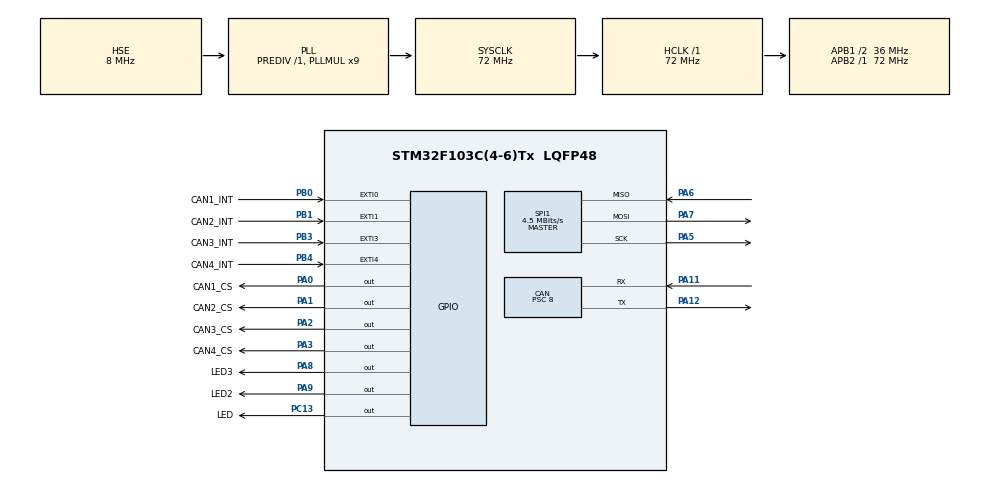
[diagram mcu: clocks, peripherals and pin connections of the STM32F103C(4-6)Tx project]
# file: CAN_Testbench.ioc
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CAN.ABOM=ENABLE
CAN.BS1=CAN_BS1_15TQ
CAN.BS2=CAN_BS2_2TQ
CAN.CalculateBaudRate=250000
CAN.CalculateTimeBit=4000
CAN.CalculateTimeQuantum=222.22222222222223
CAN.NART=ENABLE
CAN.Prescaler=8
Mcu.Family=STM32F1
Mcu.Name=STM32F103C(4-6)Tx
Mcu.Package=LQFP48
NVIC.EXTI0_IRQn=true\:0\:0\:false\:false\:true\:true\:true\:true
NVIC.EXTI1_IRQn=true\:0\:0\:false\:false\:true\:true\:true\:true
NVIC.EXTI3_IRQn=true\:0\:0\:false\:false\:true\:true\:true\:true
NVIC.EXTI4_IRQn=true\:0\:0\:false\:false\:true\:true\:true\:true
NVIC.PriorityGroup=NVIC_PRIORITYGROUP_4
PA0-WKUP.GPIO_Label=CAN1_CS
PA0-WKUP.PinState=GPIO_PIN_SET
PA0-WKUP.Signal=GPIO_Output
PA1.GPIO_Label=CAN2_CS
PA1.PinState=GPIO_PIN_SET
PA1.Signal=GPIO_Output
PA11.Mode=CAN_Activate
PA11.Signal=CAN_RX
PA12.Mode=CAN_Activate
PA12.Signal=CAN_TX
PA13.Mode=Serial_Wire
PA13.Signal=SYS_JTMS-SWDIO
PA14.Mode=Serial_Wire
PA14.Signal=SYS_JTCK-SWCLK
PA2.GPIO_Label=CAN3_CS
PA2.PinState=GPIO_PIN_SET
PA2.Signal=GPIO_Output
PA3.GPIO_Label=CAN4_CS
PA3.PinState=GPIO_PIN_SET
PA3.Signal=GPIO_Output
PA5.Mode=Full_Duplex_Master
PA5.Signal=SPI1_SCK
PA6.Mode=Full_Duplex_Master
PA6.Signal=SPI1_MISO
PA7.Mode=Full_Duplex_Master
PA7.Signal=SPI1_MOSI
PA8.GPIO_Label=LED3
PA8.GPIO_ModeDefaultOutputPP=GPIO_MODE_OUTPUT_OD
PA8.GPIO_PuPd=GPIO_NOPULL
PA8.PinState=GPIO_PIN_SET
PA8.Signal=GPIO_Output
PA9.GPIO_Label=LED2
PA9.GPIO_ModeDefaultOutputPP=GPIO_MODE_OUTPUT_OD
PA9.GPIO_PuPd=GPIO_NOPULL
PA9.PinState=GPIO_PIN_SET
PA9.Signal=GPIO_Output
PB0.GPIO_Label=CAN1_INT
PB0.GPIO_ModeDefaultEXTI=GPIO_MODE_IT_FALLING
PB0.GPIO_PuPd=GPIO_NOPULL
PB0.Signal=GPXTI0
PB1.GPIO_Label=CAN2_INT
PB1.GPIO_ModeDefaultEXTI=GPIO_MODE_IT_FALLING
PB1.GPIO_PuPd=GPIO_NOPULL
PB1.Signal=GPXTI1
PB3.GPIO_Label=CAN3_INT
PB3.GPIO_ModeDefaultEXTI=GPIO_MODE_IT_FALLING
PB3.GPIO_PuPd=GPIO_NOPULL
PB3.Signal=GPXTI3
PB4.GPIO_Label=CAN4_INT
PB4.GPIO_ModeDefaultEXTI=GPIO_MODE_IT_FALLING
PB4.GPIO_PuPd=GPIO_NOPULL
PB4.Signal=GPXTI4
PC13-TAMPER-RTC.GPIO_Label=LED
PC13-TAMPER-RTC.GPIO_ModeDefaultOutputPP=GPIO_MODE_OUTPUT_OD
PC13-TAMPER-RTC.GPIO_PuPd=GPIO_NOPULL
PC13-TAMPER-RTC.GPIO_Speed=GPIO_SPEED_FREQ_LOW
PC13-TAMPER-RTC.PinState=GPIO_PIN_SET
PC13-TAMPER-RTC.Signal=GPIO_Output
PD0-OSC_IN.Mode=HSE-External-Oscillator
PD0-OSC_IN.Signal=RCC_OSC_IN
PD1-OSC_OUT.Mode=HSE-External-Oscillator
PD1-OSC_OUT.Signal=RCC_OSC_OUT
ProjectManager.HeapSize=0x200
ProjectManager.StackSize=0x400
ProjectManager.TargetToolchain=STM32CubeIDE
RCC.AHBFreq_Value=72000000
RCC.APB1CLKDivider=RCC_HCLK_DIV2
RCC.APB1Freq_Value=36000000
RCC.APB1TimFreq_Value=72000000
RCC.APB2Freq_Value=72000000
RCC.APB2TimFreq_Value=72000000
RCC.HCLKFreq_Value=72000000
RCC.PLLMUL=RCC_PLL_MUL9
RCC.PLLSourceVirtual=RCC_PLLSOURCE_HSE
RCC.RTCClockSelection=RCC_RTCCLKSOURCE_LSE
RCC.SYSCLKFreq_VALUE=72000000
RCC.SYSCLKSource=RCC_SYSCLKSOURCE_PLLCLK
RCC.USBFreq_Value=72000000
SPI1.BaudRatePrescaler=SPI_BAUDRATEPRESCALER_16
SPI1.CalculateBaudRate=4.5 MBits/s
SPI1.Direction=SPI_DIRECTION_2LINES
SPI1.Mode=SPI_MODE_MASTER
SPI1.VirtualType=VM_MASTER
board=custom

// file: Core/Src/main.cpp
/* USER CODE BEGIN Header */
/**
  ******************************************************************************
  * @file           : main.c
  * @brief          : Main program body
  ******************************************************************************
  * @attention
  *
  * Copyright (c) 2024 STMicroelectronics.
  * All rights reserved.
  *
  * This software is licensed under terms that can be found in the LICENSE file
  * in the root directory of this software component.
  * If no LICENSE file comes with this software, it is provided AS-IS.
  *
  ******************************************************************************
  */
/* USER CODE END Header */
#include "main.hpp"
#include "mcp2515.hpp"

/* USER CODE BEGIN Includes */
#include <functional>
/* USER CODE END Includes */

CAN_HandleTypeDef hcan;

SPI_HandleTypeDef hspi1;

void SystemClock_Config(void);
static void MX_GPIO_Init(void);
static void MX_SPI1_Init(void);
static void MX_CAN_Init(void);
void switchSpiInterrupts(bool state);

/* USER CODE BEGIN 0 */

mcp2515::Driver can1(&hspi1, CAN1_CS_GPIO_Port, CAN1_CS_Pin, std::function<void(bool)>(switchSpiInterrupts));
mcp2515::Driver can2(&hspi1, CAN2_CS_GPIO_Port, CAN2_CS_Pin, std::function<void(bool)>(switchSpiInterrupts));
mcp2515::Driver can3(&hspi1, CAN3_CS_GPIO_Port, CAN3_CS_Pin, std::function<void(bool)>(switchSpiInterrupts));
mcp2515::Driver can4(&hspi1, CAN4_CS_GPIO_Port, CAN4_CS_Pin, std::function<void(bool)>(switchSpiInterrupts));

extern std::function<void()> can1_callback;
extern std::function<void()> can2_callback;
extern std::function<void()> can3_callback;
extern std::function<void()> can4_callback;

/* USER CODE END 0 */

int main(void)
{

  /* MCU Configuration--------------------------------------------------------*/

  /* Reset of all peripherals, Initializes the Flash interface and the Systick. */
  HAL_Init();

  /* Configure the system clock */
  SystemClock_Config();

  /* Initialize all configured peripherals */
  MX_GPIO_Init();
  MX_SPI1_Init();
  MX_CAN_Init();
  /* USER CODE BEGIN 2 */

  if (can1.init() != mcp2515::Error::OK) {
    Error_Handler(0x11);
  }
  if (can2.init() != mcp2515::Error::OK) {
    Error_Handler(0x12);
  }
  if (can3.init() != mcp2515::Error::OK) {
    Error_Handler(0x13);
  }
  if (can4.init() != mcp2515::Error::OK) {
    Error_Handler(0x14);
  }

  can1_callback = std::bind(&mcp2515::Driver::interruptHandler, &can1);
  can1.setMode(mcp2515::Mode::CONFIGURATION);
  can1.setSpeed(mcp2515::Speed::MCP_500KBPS);
  can1.setMode(mcp2515::Mode::NORMAL);

  can2_callback = std::bind(&mcp2515::Driver::interruptHandler, &can2);
  can2.setMode(mcp2515::Mode::CONFIGURATION);
  can2.setSpeed(mcp2515::Speed::MCP_500KBPS);
  can2.setFilter(0, 0x1FFFFFFF, 0xFFFFFF, true);
  can2.setFilter(1, 0x1FFFFFFF, 0xFFFFFFFF, true);
  can2.setFilter(2, 0x7FF, 0x222, false);
  can2.setFilter(3, 0x7FF, 0x1AA, false);
  can2.setMode(mcp2515::Mode::NORMAL);

  can3_callback = std::bind(&mcp2515::Driver::interruptHandler, &can3);
  can3.setMode(mcp2515::Mode::CONFIGURATION);
  can3.setSpeed(mcp2515::Speed::MCP_250KBPS);
  can3.setMode(mcp2515::Mode::NORMAL);

  can4_callback = std::bind(&mcp2515::Driver::interruptHandler, &can4);
  can4.setMode(mcp2515::Mode::CONFIGURATION);
  can4.setSpeed(mcp2515::Speed::MCP_250KBPS);
  can4.setFilter(0, 0x0, 0x0, false);
  can4.setMode(mcp2515::Mode::NORMAL);

  switchSpiInterrupts(true);

  /* USER CODE END 2 */

  /* Infinite loop */
  /* USER CODE BEGIN WHILE */
  HAL_GPIO_WritePin(LED_GPIO_Port, LED_Pin, GPIO_PIN_RESET);
  HAL_GPIO_WritePin(LED2_GPIO_Port, LED2_Pin, GPIO_PIN_RESET);
  HAL_GPIO_WritePin(LED3_GPIO_Port, LED3_Pin, GPIO_PIN_RESET);
  while (1)
  {
    static uint32_t can1Timer = HAL_GetTick();
    static uint32_t led2Timer = HAL_GetTick();
    static uint32_t can3Timer = HAL_GetTick();
    static uint32_t led3Timer = HAL_GetTick();

    if (HAL_GetTick() - can1Timer > 1000) {
      can1Timer = HAL_GetTick();

      HAL_GPIO_WritePin(LED_GPIO_Port, LED_Pin, GPIO_PIN_RESET);
      char data[] = "abobadfg";
      can1.sendFrameExt(0xFFFFFFFF, 8, (uint8_t*)data);
      can1.sendFrame(0x222, 8, (uint8_t*)data);
      can1.sendFrame(0x1AA, 8, (uint8_t*)data);
      HAL_GPIO_WritePin(LED_GPIO_Port, LED_Pin, GPIO_PIN_SET);
    }

    while (can2.frameAvailable()) {
      mcp2515::CanFrame frame;
      bool overflow = false;
      uint8_t filter;

      can2.readFrame(frame, filter, overflow);

      if (filter == 3) {
        led2Timer = HAL_GetTick();
        HAL_GPIO_WritePin(LED2_GPIO_Port, LED2_Pin, GPIO_PIN_RESET);
      }
    }

    if (HAL_GetTick() - led2Timer > 200) {
      led2Timer = HAL_GetTick();

      HAL_GPIO_WritePin(LED2_GPIO_Port, LED2_Pin, GPIO_PIN_SET);
    }

    /* USER CODE END WHILE */

    /* USER CODE BEGIN 3 */
    if (HAL_GetTick() - can3Timer > 1500) {
      can3Timer = HAL_GetTick();

      HAL_GPIO_WritePin(LED_GPIO_Port, LED_Pin, GPIO_PIN_RESET);
      char data[] = "maximgat";
      can3.sendFrameExt(0xFFFFFFFF, 4, (uint8_t*)data);
      can3.sendFrame(0x1AA, 2, (uint8_t*)data);
      HAL_GPIO_WritePin(LED_GPIO_Port, LED_Pin, GPIO_PIN_SET);
    }

    while (can4.frameAvailable()) {
      mcp2515::CanFrame frame;
      bool overflow = false;
      uint8_t filter;

      can4.readFrame(frame, filter, overflow);

      if (frame.data[0] == 'm') {
        led3Timer = HAL_GetTick();
        HAL_GPIO_WritePin(LED3_GPIO_Port, LED3_Pin, GPIO_PIN_RESET);
      }
    }

    if (HAL_GetTick() - led3Timer > 200) {
      led3Timer = HAL_GetTick();

      HAL_GPIO_WritePin(LED3_GPIO_Port, LED3_Pin, GPIO_PIN_SET);
    }

  }
  /* USER CODE END 3 */
}

void SystemClock_Config(void)
{
  RCC_OscInitTypeDef RCC_OscInitStruct = {0};
  RCC_ClkInitTypeDef RCC_ClkInitStruct = {0};

  /** Initializes the RCC Oscillators according to the specified parameters
  * in the RCC_OscInitTypeDef structure.
  */
  RCC_OscInitStruct.OscillatorType = RCC_OSCILLATORTYPE_HSE;
  RCC_OscInitStruct.HSEState = RCC_HSE_ON;
  RCC_OscInitStruct.HSEPredivValue = RCC_HSE_PREDIV_DIV1;
  RCC_OscInitStruct.HSIState = RCC_HSI_ON;
  RCC_OscInitStruct.PLL.PLLState = RCC_PLL_ON;
  RCC_OscInitStruct.PLL.PLLSource = RCC_PLLSOURCE_HSE;
  RCC_OscInitStruct.PLL.PLLMUL = RCC_PLL_MUL9;
  if (HAL_RCC_OscConfig(&RCC_OscInitStruct) != HAL_OK)
  {
    Error_Handler();
  }

  /** Initializes the CPU, AHB and APB buses clocks
  */
  RCC_ClkInitStruct.ClockType = RCC_CLOCKTYPE_HCLK|RCC_CLOCKTYPE_SYSCLK
                              |RCC_CLOCKTYPE_PCLK1|RCC_CLOCKTYPE_PCLK2;
  RCC_ClkInitStruct.SYSCLKSource = RCC_SYSCLKSOURCE_PLLCLK;
  RCC_ClkInitStruct.AHBCLKDivider = RCC_SYSCLK_DIV1;
  RCC_ClkInitStruct.APB1CLKDivider = RCC_HCLK_DIV2;
  RCC_ClkInitStruct.APB2CLKDivider = RCC_HCLK_DIV1;

  if (HAL_RCC_ClockConfig(&RCC_ClkInitStruct, FLASH_LATENCY_2) != HAL_OK)
  {
    Error_Handler();
  }
}

static void MX_CAN_Init(void)
{

  hcan.Instance = CAN1;
  hcan.Init.Prescaler = 8;
  hcan.Init.Mode = CAN_MODE_NORMAL;
  hcan.Init.SyncJumpWidth = CAN_SJW_1TQ;
  hcan.Init.TimeSeg1 = CAN_BS1_15TQ;
  hcan.Init.TimeSeg2 = CAN_BS2_2TQ;
  hcan.Init.TimeTriggeredMode = DISABLE;
  hcan.Init.AutoBusOff = ENABLE;
  hcan.Init.AutoWakeUp = DISABLE;
  hcan.Init.AutoRetransmission = ENABLE;
  hcan.Init.ReceiveFifoLocked = DISABLE;
  hcan.Init.TransmitFifoPriority = DISABLE;
  if (HAL_CAN_Init(&hcan) != HAL_OK)
  {
    Error_Handler();
  }

}

static void MX_SPI1_Init(void)
{

  /* SPI1 parameter configuration*/
  hspi1.Instance = SPI1;
  hspi1.Init.Mode = SPI_MODE_MASTER;
  hspi1.Init.Direction = SPI_DIRECTION_2LINES;
  hspi1.Init.DataSize = SPI_DATASIZE_8BIT;
  hspi1.Init.CLKPolarity = SPI_POLARITY_LOW;
  hspi1.Init.CLKPhase = SPI_PHASE_1EDGE;
  hspi1.Init.NSS = SPI_NSS_SOFT;
  hspi1.Init.BaudRatePrescaler = SPI_BAUDRATEPRESCALER_16;
  hspi1.Init.FirstBit = SPI_FIRSTBIT_MSB;
  hspi1.Init.TIMode = SPI_TIMODE_DISABLE;
  hspi1.Init.CRCCalculation = SPI_CRCCALCULATION_DISABLE;
  hspi1.Init.CRCPolynomial = 10;
  if (HAL_SPI_Init(&hspi1) != HAL_OK)
  {
    Error_Handler();
  }

}

static void MX_GPIO_Init(void)
{
  GPIO_InitTypeDef GPIO_InitStruct = {0};

  /* GPIO Ports Clock Enable */
  __HAL_RCC_GPIOC_CLK_ENABLE();
  __HAL_RCC_GPIOD_CLK_ENABLE();
  __HAL_RCC_GPIOA_CLK_ENABLE();
  __HAL_RCC_GPIOB_CLK_ENABLE();

  /*Configure GPIO pin Output Level */
  HAL_GPIO_WritePin(LED_GPIO_Port, LED_Pin, GPIO_PIN_SET);

  /*Configure GPIO pin Output Level */
  HAL_GPIO_WritePin(GPIOA, CAN1_CS_Pin|CAN2_CS_Pin|CAN3_CS_Pin|CAN4_CS_Pin
                          |LED3_Pin|LED2_Pin, GPIO_PIN_SET);

  /*Configure GPIO pin : LED_Pin */
  GPIO_InitStruct.Pin = LED_Pin;
  GPIO_InitStruct.Mode = GPIO_MODE_OUTPUT_OD;
  GPIO_InitStruct.Pull = GPIO_NOPULL;
  GPIO_InitStruct.Speed = GPIO_SPEED_FREQ_LOW;
  HAL_GPIO_Init(LED_GPIO_Port, &GPIO_InitStruct);

  /*Configure GPIO pins : CAN1_CS_Pin CAN2_CS_Pin CAN3_CS_Pin CAN4_CS_Pin */
  GPIO_InitStruct.Pin = CAN1_CS_Pin|CAN2_CS_Pin|CAN3_CS_Pin|CAN4_CS_Pin;
  GPIO_InitStruct.Mode = GPIO_MODE_OUTPUT_PP;
  GPIO_InitStruct.Pull = GPIO_NOPULL;
  GPIO_InitStruct.Speed = GPIO_SPEED_FREQ_LOW;
  HAL_GPIO_Init(GPIOA, &GPIO_InitStruct);

  /*Configure GPIO pins : CAN1_INT_Pin CAN2_INT_Pin CAN3_INT_Pin CAN4_INT_Pin */
  GPIO_InitStruct.Pin = CAN1_INT_Pin|CAN2_INT_Pin|CAN3_INT_Pin|CAN4_INT_Pin;
  GPIO_InitStruct.Mode = GPIO_MODE_IT_FALLING;
  GPIO_InitStruct.Pull = GPIO_NOPULL;
  HAL_GPIO_Init(GPIOB, &GPIO_InitStruct);

  /*Configure GPIO pins : LED3_Pin LED2_Pin */
  GPIO_InitStruct.Pin = LED3_Pin|LED2_Pin;
  GPIO_InitStruct.Mode = GPIO_MODE_OUTPUT_OD;
  GPIO_InitStruct.Pull = GPIO_NOPULL;
  GPIO_InitStruct.Speed = GPIO_SPEED_FREQ_LOW;
  HAL_GPIO_Init(GPIOA, &GPIO_InitStruct);

  /* EXTI interrupt init*/
  HAL_NVIC_SetPriority(EXTI0_IRQn, 0, 0);
  HAL_NVIC_SetPriority(EXTI1_IRQn, 0, 0);
  HAL_NVIC_SetPriority(EXTI3_IRQn, 0, 0);
  HAL_NVIC_SetPriority(EXTI4_IRQn, 0, 0);

}

/* USER CODE BEGIN 4 */
void switchSpiInterrupts(bool state)
{
  if (state) {
    HAL_NVIC_EnableIRQ(EXTI0_IRQn);
    HAL_NVIC_EnableIRQ(EXTI1_IRQn);
    HAL_NVIC_EnableIRQ(EXTI3_IRQn);
    HAL_NVIC_EnableIRQ(EXTI4_IRQn);
  } else {
    HAL_NVIC_DisableIRQ(EXTI0_IRQn);
    HAL_NVIC_DisableIRQ(EXTI1_IRQn);
    HAL_NVIC_DisableIRQ(EXTI3_IRQn);
    HAL_NVIC_DisableIRQ(EXTI4_IRQn);
  }
}
/* USER CODE END 4 */

void Error_Handler(uint8_t errorCode)
{
  /* USER CODE BEGIN Error_Handler_Debug */
  /* User can add his own implementation to report the HAL error return state */
  __disable_irq();
  HAL_GPIO_WritePin(LED_GPIO_Port, LED_Pin, GPIO_PIN_SET);
  const uint32_t delayTicks = 36000000 / 8;
  while (1)
  {
    if (errorCode != 0) {
      for (int i = 0; i < (errorCode >> 4); ++i) {
        HAL_GPIO_WritePin(LED_GPIO_Port, LED_Pin, GPIO_PIN_RESET);
        for (uint32_t j = delayTicks; j > 0; --j);
        HAL_GPIO_WritePin(LED_GPIO_Port, LED_Pin, GPIO_PIN_SET);
        for (uint32_t j = delayTicks; j > 0; --j);
      }
      for (int i = 0; i < (errorCode & 0x0F); ++i) {
        HAL_GPIO_WritePin(LED_GPIO_Port, LED_Pin, GPIO_PIN_RESET);
        for (uint32_t j = delayTicks / 4; j > 0; --j);
        HAL_GPIO_WritePin(LED_GPIO_Port, LED_Pin, GPIO_PIN_SET);
        for (uint32_t j = delayTicks / 4; j > 0; --j);
      }
      for (uint32_t j = delayTicks * 2; j > 0; --j);
    } else {
      HAL_GPIO_WritePin(LED_GPIO_Port, LED_Pin, GPIO_PIN_RESET);
      for (uint32_t i = delayTicks / 8; i > 0; --i);
      HAL_GPIO_WritePin(LED_GPIO_Port, LED_Pin, GPIO_PIN_SET);
      for (uint32_t i = delayTicks / 8; i > 0; --i);
    }
  }
  /* USER CODE END Error_Handler_Debug */
}
